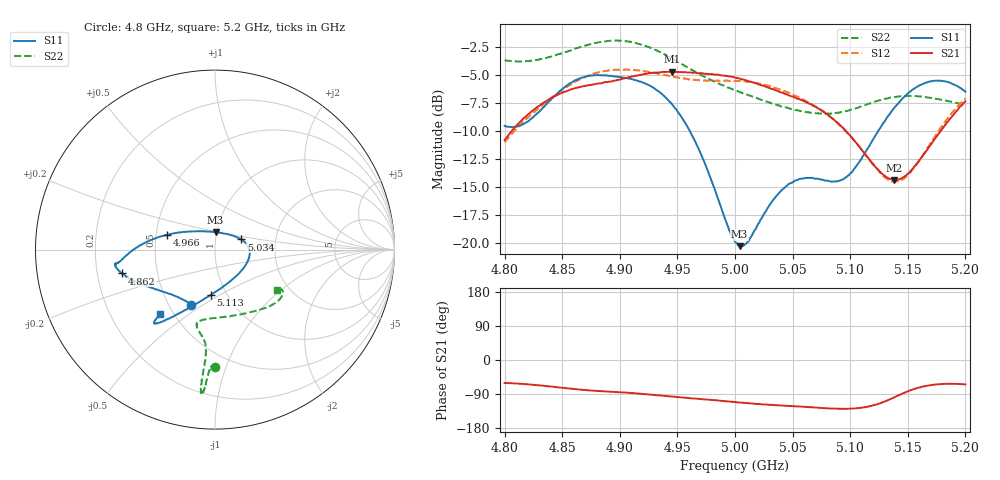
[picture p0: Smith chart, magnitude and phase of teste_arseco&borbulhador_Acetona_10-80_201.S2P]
! Network Analyzer HP8722D
! Hewlett-Packard
! Data name: Linha & Wilkinson
! Saver's name: Rodrigo Anjos
! Comments: Teste da utilização de aquisição
! continua pelo VNA HP8722D
! Time and date: 17/4/2025 16:02
!  Frequency  S11  S21  S12  S22
# HZ  S  MA R 50
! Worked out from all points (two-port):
!   401 points, 4.8 GHz to 5.2 GHz, reference 50 ohm
!   highest |S21| = -4.69 dB at 4.945 GHz (marker M1); lowest = -14.4 dB at 5.138 GHz (marker M2)
!   |S21| within 3 dB of the highest: 4.831 GHz to 5.067 GHz (236.7 MHz wide, 4.78 % of centre); 5.19672 GHz to end of sweep
!   lowest |S11| = -20.3 dB at 5.004 GHz (marker M3), VSWR 1.21, Z = 49.4 + j9.63 ohm
!   |S11| at or under -10 dB: 4.961 GHz to 5.124 GHz (163.4 MHz wide, 3.24 % of centre)
!   |S22| runs from -8.5 to -1.9 dB; largest |S21 - S12| = 0.87
!   S11 on the Smith chart (normalised r, x): 4.8 GHz: 0.65, -0.45; 4.862 GHz: 0.31, -0.11; 4.966 GHz: 0.57, +0.10; 5.034 GHz: 1.33, +0.15; 5.113 GHz: 0.84, -0.45; 5.2 GHz: 0.42, -0.39
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4.8e9  0.3339 -113.2  0.2888 -60.7  0.282 -175.0  0.6559 -90.0
4.819e9  0.3467 -133.2  0.3699 -64.0  0.3589 -173.5  0.6518 -91.6
4.862e9  0.5356 -165.7  0.4938 -77.1  0.528 -176.7  0.7422 -93.8
4.867e9  0.5485 -167.6  0.5004 -78.6  0.5425 -177.6  0.7548 -93.9
4.899e9  0.5523 -172.1  0.5359 -85.2  0.5962 175.6  0.8026 -95.2
4.934e9  0.4754 -178.1  0.5784 -93.4  0.5707 171.9  0.7171 -95.7
4.945e9  0.4195 176.9  0.5829 -96.6  0.557 171.9  0.6707 -95.5
4.966e9  0.2799 162.8  0.576 -101.8  0.5362 173.8  0.5801 -95.0
5e9  0.1013 101.9  0.5489 -111.0  0.5315 176.1  0.4819 -99.0
5.004e9  0.09656 87.9  0.5439 -112.1  0.5297 176.2  0.4737 -99.9
5.012e9  0.1019 61.2  0.5292 -114.2  0.5251 176.1  0.457 -101.8
5.034e9  0.1575 21.0  0.4844 -119.2  0.4952 174.9  0.4172 -103.5
5.049e9  0.1852 5.4  0.4521 -121.5  0.4626 174.2  0.3968 -99.9
5.067e9  0.1953 -13.6  0.4144 -124.7  0.4158 173.7  0.3818 -90.6
5.093e9  0.1916 -57.9  0.3294 -128.8  0.3281 174.2  0.3852 -70.6
5.113e9  0.2531 -95.2  0.2489 -124.5  0.2487 -180.0  0.4138 -55.0
5.134e9  0.3754 -116.3  0.1934 -104.4  0.1903 -157.3  0.4455 -42.9
5.138e9  0.4005 -118.6  0.1909 -98.9  0.1885 -150.9  0.4486 -41.2
5.15e9  0.4657 -124.1  0.2039 -82.7  0.201 -132.3  0.4545 -36.7
5.17e9  0.5284 -128.8  0.2748 -66.3  0.2801 -112.4  0.4459 -31.9
5.184e9  0.5256 -130.0  0.3464 -63.0  0.3572 -107.1  0.432 -31.0
5.2e9  0.4746 -130.4  0.4298 -64.3  0.442 -106.4  0.4146 -33.3
